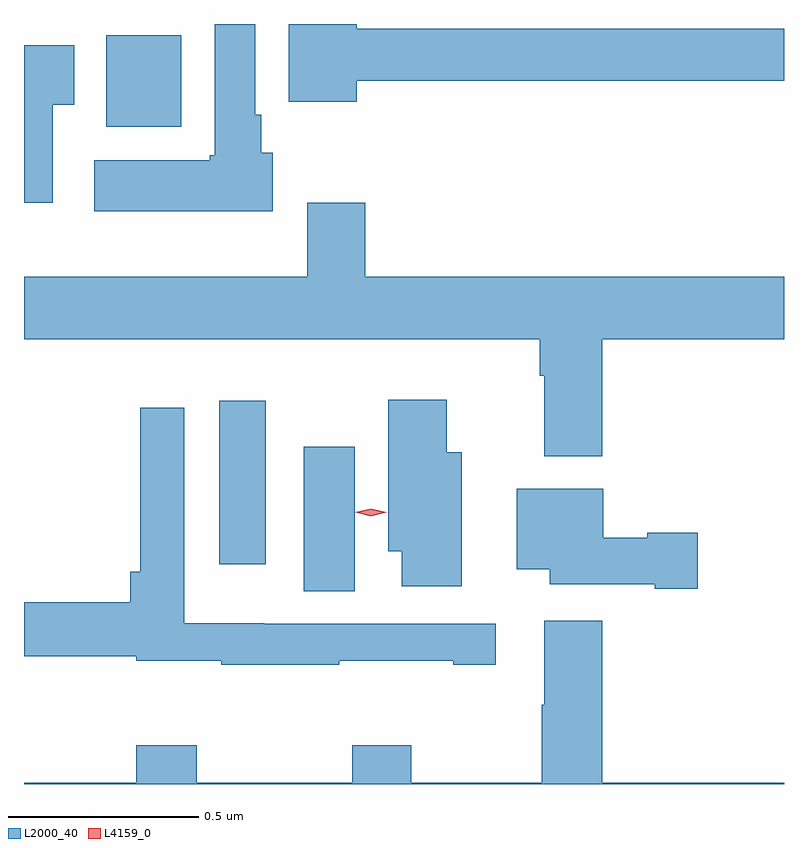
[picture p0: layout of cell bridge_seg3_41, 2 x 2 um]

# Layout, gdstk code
import gdstk
lib = gdstk.Library(unit=1e-6, precision=1e-09)
def R(c, l, rs):  # rectangles x0, y0, x1, y1
    for r in rs: c.add(gdstk.rectangle(r[:2], r[2:], *l))
def P(c, l, *ps):  # polygons
    for p in ps: c.add(gdstk.Polygon(p, *l))
L2000_40 = (2000, 40)
L4159_0 = (4159, 0)

bridge_seg3_41 = lib.new_cell('bridge_seg3_41')
R(bridge_seg3_41, L2000_40, [(832.694,672.28,832.828,672.661), (832.472,672.351,832.594,672.781), (832.175,673.502,832.372,673.744)])
P(bridge_seg3_41, L2000_40, [(832.834,673.624),(833.958,673.624),(833.958,673.76),(832.834,673.76),(832.834,673.773),(832.655,673.773),(832.655,673.568),(832.834,673.568)],
  [(832.612,673.434),(832.582,673.434),(832.582,673.534),(832.567,673.534),(832.567,673.773),(832.46,673.773),(832.46,673.428),(832.447,673.428),(832.447,673.414),(832.143,673.414),(832.143,673.28),(832.612,673.28)],
  [(832.033,673.561),(832.09,673.561),(832.09,673.717),(831.958,673.717),(831.958,673.302),(832.033,673.302)],
  [(833.48,672.944),(833.958,672.944),(833.958,673.108),(832.856,673.108),(832.856,673.303),(832.703,673.303),(832.703,673.108),(831.958,673.108),(831.958,672.944),(833.315,672.944),(833.315,672.848),(833.327,672.848),(833.327,672.635),(833.48,672.635)],
  [(833.11,672.646),(833.071,672.646),(833.071,672.784),(832.916,672.784),(832.916,672.386),(832.952,672.386),(832.952,672.294),(833.11,672.294)],
  [(832.787,672.097),(833.087,672.097),(833.087,672.087),(833.2,672.087),(833.2,672.195),(832.59,672.195),(832.59,672.196),(832.38,672.196),(832.38,672.763),(832.264,672.763),(832.264,672.331),(832.238,672.331),(832.238,672.251),(831.958,672.251),(831.958,672.109),(832.254,672.109),(832.254,672.097),(832.477,672.097),(832.477,672.087),(832.787,672.087)],
  [(833.731,672.434),(833.598,672.434),(833.598,672.421),(833.482,672.421),(833.482,672.55),(833.255,672.55),(833.255,672.338),(833.342,672.338),(833.342,672.299),(833.618,672.299),(833.618,672.287),(833.731,672.287)],
  [(833.958,671.776),(833.48,671.776),(833.48,672.202),(833.327,672.202),(833.327,671.981),(833.32,671.981),(833.32,671.776),(832.977,671.776),(832.977,671.875),(832.822,671.875),(832.822,671.776),(832.413,671.776),(832.413,671.875),(832.253,671.875),(832.253,671.776),(831.958,671.776),(831.958,671.773),(833.958,671.773)])
P(bridge_seg3_41, L4159_0, [(832.871,672.478),(832.83,672.488),(832.829,672.488),(832.83,672.488),(832.871,672.498),(832.912,672.488),(832.912,672.488),(832.912,672.488)])

lib.write_gds('bridge_seg3_41.gds')
